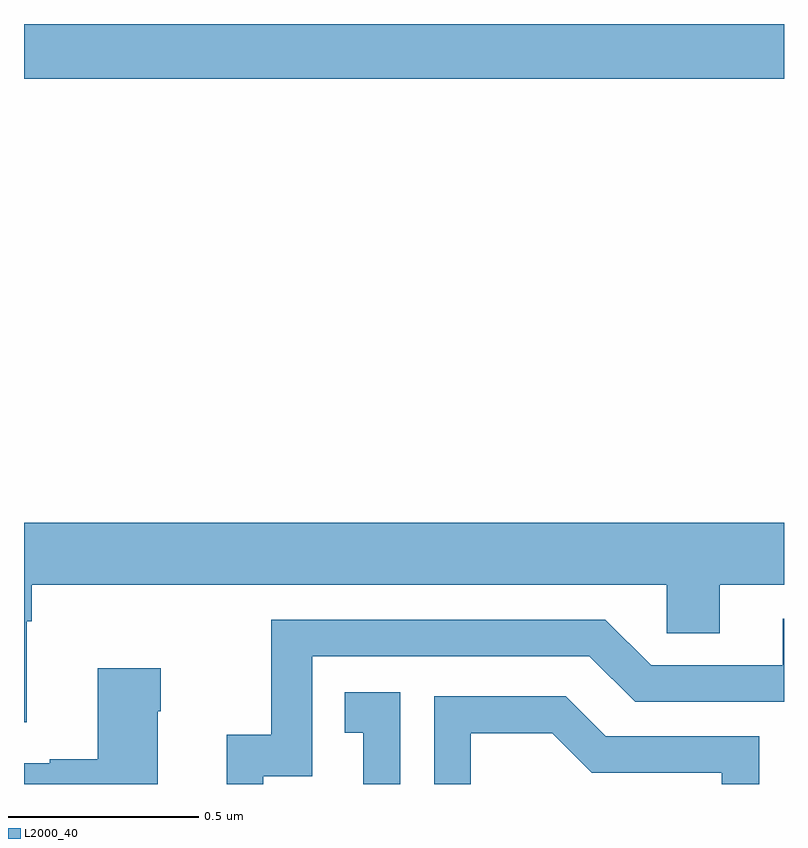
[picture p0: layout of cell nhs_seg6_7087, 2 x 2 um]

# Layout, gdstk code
import gdstk
lib = gdstk.Library(unit=1e-6, precision=1e-09)
def R(c, l, rs):  # rectangles x0, y0, x1, y1
    for r in rs: c.add(gdstk.rectangle(r[:2], r[2:], *l))
def P(c, l, *ps):  # polygons
    for p in ps: c.add(gdstk.Polygon(p, *l))
L2000_40 = (2000, 40)

nhs_seg6_7087 = lib.new_cell('nhs_seg6_7087')
R(nhs_seg6_7087, L2000_40, [(204,927.356,206,927.5)])
P(nhs_seg6_7087, L2000_40, [(204.007,925.928),(204.02,925.928),(204.02,926.024),(205.692,926.024),(205.692,925.897),(205.831,925.897),(205.831,926.024),(206,926.024),(206,926.188),(204,926.188),(204,925.662),(204.007,925.662)],
  [(204.63,925.521),(204.759,925.521),(204.759,925.836),(205.488,925.836),(205.608,925.716),(206,925.716),(206,925.935),(205.997,925.935),(205.997,925.812),(205.65,925.812),(205.53,925.932),(204.651,925.932),(204.651,925.63),(204.533,925.63),(204.533,925.5),(204.63,925.5)],
  [(204.352,925.691),(204.36,925.691),(204.36,925.804),(204.194,925.804),(204.194,925.565),(204.068,925.565),(204.068,925.555),(204,925.555),(204,925.5),(204.352,925.5)],
  [(204.99,925.741),(204.844,925.741),(204.844,925.635),(204.893,925.635),(204.893,925.5),(204.99,925.5)],
  [(205.176,925.634),(205.39,925.634),(205.494,925.53),(205.836,925.53),(205.836,925.5),(205.935,925.5),(205.935,925.626),(205.531,925.626),(205.426,925.731),(205.08,925.731),(205.08,925.5),(205.176,925.5)])

lib.write_gds('nhs_seg6_7087.gds')
